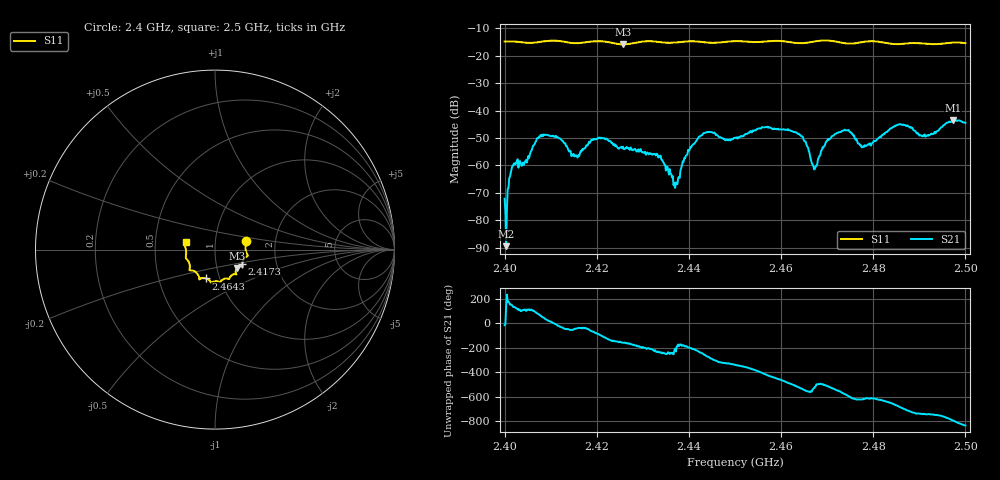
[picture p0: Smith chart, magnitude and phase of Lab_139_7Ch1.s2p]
# Hz S RI R 50
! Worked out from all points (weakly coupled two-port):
!   601 points, 2.4 GHz to 2.5 GHz, reference 50 ohm
!   highest |S21| = -43.50 dB at 2.4973 GHz (marker M1); lowest = -89.4 dB at 2.4003 GHz (marker M2)
!   lowest |S11| = -15.9 dB at 2.4257 GHz (marker M3), VSWR 1.38, Z = 62.4 - j13.1 ohm
!   |S11| at or under -10 dB: start of sweep to end of sweep
!   S12 and S22 are empty: the file has one direction only
!   S11 on the Smith chart (normalised r, x): 2.4 GHz: 1.41, +0.14; 2.4173 GHz: 1.34, -0.23; 2.4643 GHz: 0.86, -0.28; 2.5 GHz: 0.72, +0.06
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2.4e9  0.1738 0.0494  0.000239 -6.89e-05  0 0  0 0
2.400333e9  0.1746 0.0482  -2.45e-05 2.36e-05  0 0  0 0
2.401833e9  0.1756 0.042  -0.000682 0.000718  0 0  0 0
2.404333e9  0.171 0.0209  -0.000387 0.00104  0 0  0 0
2.407667e9  0.1764 -0.018  0.00151 0.00296  0 0  0 0
2.416667e9  0.1527 -0.075  0.00141 -0.00111  0 0  0 0
2.417333e9  0.152 -0.0823  0.00164 -0.00125  0 0  0 0
2.420833e9  0.1546 -0.0966  -0.000473 -0.00306  0 0  0 0
2.425667e9  0.1225 -0.1026  -0.00206 -0.000786  0 0  0 0
2.433333e9  0.1125 -0.1366  -0.000892 0.00108  0 0  0 0
2.437167e9  0.0863 -0.1498  -0.000314 0.000378  0 0  0 0
2.442667e9  0.0715 -0.1623  -0.00163 0.00312  0 0  0 0
2.45e9  0.0294 -0.1809  0.00295 0.00119  0 0  0 0
2.4565e9  -0.0106 -0.1794  0.00291 -0.00402  0 0  0 0
2.464333e9  -0.0501 -0.1605  -0.0034 -0.000473  0 0  0 0
2.466667e9  -0.0762 -0.1596  -0.00107 0.000317  0 0  0 0
2.472333e9  -0.0885 -0.1534  -0.00389 0.000596  0 0  0 0
2.478e9  -0.1353 -0.116  -0.000552 0.00211  0 0  0 0
2.483333e9  -0.1404 -0.0896  0.00094 0.00423  0 0  0 0
2.491833e9  -0.161 -0.0271  0.00334 -0.00129  0 0  0 0
2.497333e9  -0.1707 0.0285  0.00194 -0.0064  0 0  0 0
2.5e9  -0.1633 0.0417  -0.00229 -0.00548  0 0  0 0
